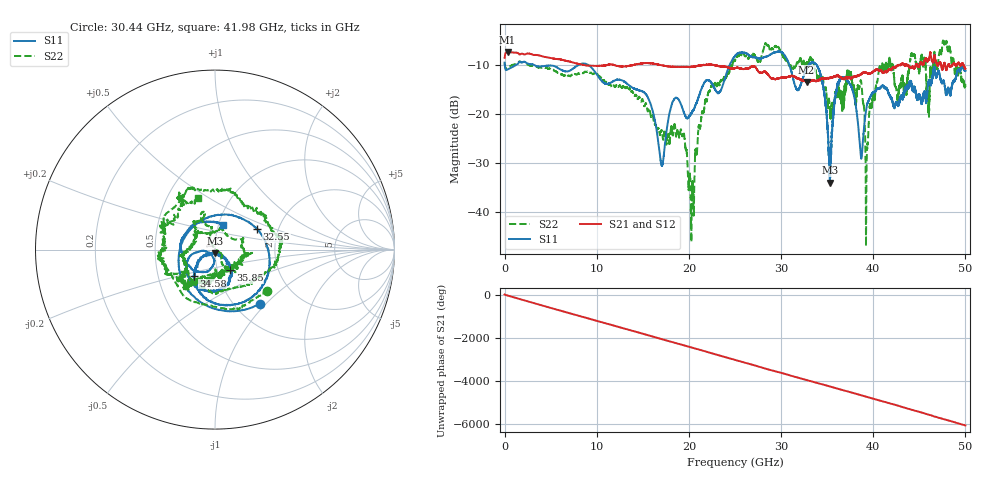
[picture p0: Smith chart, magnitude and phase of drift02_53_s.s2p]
!Created with skrf (http://scikit-rf.org).
# Hz S RI R 50.0
!freq ReS11 ImS11 ReS21 ImS21 ReS12 ImS12 ReS22 ImS22
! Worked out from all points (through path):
!   10001 points, 300 kHz to 50 GHz, reference 50 ohm
!   highest |S21| = -7.31 dB at 325.3 MHz (marker M1); lowest = -13.5 dB at 32.77 GHz (marker M2)
!   group delay of S21, straight-line fit = 335 ps
!   lowest |S11| = -33.9 dB at 35.3 GHz (marker M3), VSWR 1.04, Z = 50.1 - j2.01 ohm
!   |S11| at or under -10 dB: 3.231 GHz to 8.006 GHz (4.775 GHz wide, 85 % of centre); 9.107 GHz to 24.41 GHz (15.31 GHz wide, 91.3 % of centre); 33.85 GHz to end of sweep (the widest 3 of 10)
!   |S22| runs from -46.9 to -5.0 dB; largest |S21 - S12| = 0.013
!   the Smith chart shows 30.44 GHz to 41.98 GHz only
!   S11 on the Smith chart (normalised r, x): 30.44 GHz: 1.30, -0.93; 32.55 GHz: 1.56, +0.38; 34.58 GHz: 0.76, -0.23; 35.85 GHz: 1.16, -0.27; 41.98 GHz: 1.05, +0.29
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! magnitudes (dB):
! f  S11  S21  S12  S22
! 300 kHz  -9.5  -8.5  -8.5  -9.5
! 325.3 MHz  -10.9  -7.3  -7.3  -10.6
! 8.335 GHz  -9.7  -9.9  -9.9  -11.6
! 16.67 GHz  -25.7  -9.9  -9.9  -22.9
! 19.31 GHz  -18.8  -10.4  -10.3  -24.5
! 20.37 GHz  -19.5  -10.3  -10.3  -34.7
! 21.94 GHz  -13.1  -10.0  -9.9  -17.3
! 25 GHz  -8.1  -10.6  -10.6  -9.0
! 30.44 GHz  -8.1  -12.5  -12.5  -8.6
! 32.55 GHz  -11.7  -13.2  -13.3  -9.9
! 32.77 GHz  -10.8  -13.5  -13.4  -10.0
! 33.34 GHz  -9.5  -13.1  -13.1  -9.0
! 34.58 GHz  -14.6  -12.8  -12.7  -13.2
! 35.3 GHz  -33.9  -12.5  -12.6  -19.1
! 35.85 GHz  -16.9  -12.3  -12.3  -15.7
! 37.46 GHz  -13.8  -12.6  -12.5  -12.4
! 38.56 GHz  -26.3  -12.0  -12.0  -13.9
! 39.32 GHz  -18.2  -11.6  -11.6  -27.8
! 41.67 GHz  -15.8  -10.9  -11.0  -9.8
! 41.98 GHz  -16.9  -10.8  -10.8  -10.3
! 47.77 GHz  -14.4  -9.8  -9.8  -5.5
! 50 GHz  -11.1  -10.8  -10.8  -14.0
